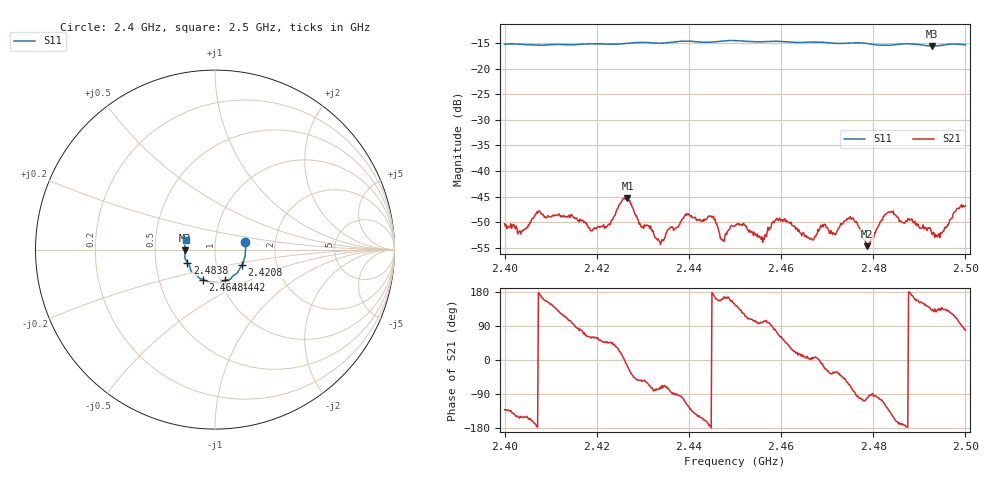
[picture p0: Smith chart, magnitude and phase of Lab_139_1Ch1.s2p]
# Hz S RI R 50
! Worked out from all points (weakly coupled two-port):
!   601 points, 2.4 GHz to 2.5 GHz, reference 50 ohm
!   highest |S21| = -45.24 dB at 2.4267 GHz (marker M1); lowest = -54.6 dB at 2.4787 GHz (marker M2)
!   lowest |S11| = -15.6 dB at 2.4928 GHz (marker M3), VSWR 1.40, Z = 35.8 - j0.353 ohm
!   |S11| at or under -10 dB: start of sweep to end of sweep
!   S12 and S22 are empty: the file has one direction only
!   S11 on the Smith chart (normalised r, x): 2.4 GHz: 1.40, +0.12; 2.4208 GHz: 1.33, -0.24; 2.4442 GHz: 1.05, -0.37; 2.4648 GHz: 0.83, -0.29; 2.4838 GHz: 0.73, -0.11; 2.5 GHz: 0.72, +0.08
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2.4e9  0.1676 0.0411  -0.00203 -0.0023  0 0  0 0
2.403333e9  0.171 0.0221  -0.00226 -0.00131  0 0  0 0
2.407333e9  0.1691 -0.0122  -0.00408 0.000181  0 0  0 0
2.416667e9  0.1591 -0.0681  0.000647 0.0032  0 0  0 0
2.420833e9  0.1507 -0.0871  0.00174 0.00231  0 0  0 0
2.426667e9  0.1316 -0.1176  0.00523 -0.00162  0 0  0 0
2.429667e9  0.1256 -0.129  0.00173 -0.00227  0 0  0 0
2.433333e9  0.1078 -0.1403  0.000482 -0.00213  0 0  0 0
2.4395e9  0.0837 -0.1653  -0.00166 -0.00331  0 0  0 0
2.444167e9  0.0567 -0.1714  -0.00355 -0.000734  0 0  0 0
2.447167e9  0.0366 -0.1817  -0.00202 0.000703  0 0  0 0
2.45e9  0.0245 -0.186  -0.00238 0.00167  0 0  0 0
2.455833e9  -0.0129 -0.1821  -0.000356 0.00226  0 0  0 0
2.460667e9  -0.0388 -0.1788  0.00215 0.00264  0 0  0 0
2.464833e9  -0.0684 -0.1669  0.00249 0.000377  0 0  0 0
2.466667e9  -0.0798 -0.1628  0.00217 0.000252  0 0  0 0
2.475167e9  -0.1234 -0.1278  0.00105 -0.00329  0 0  0 0
2.478667e9  -0.1354 -0.1117  -0.000359 -0.00182  0 0  0 0
2.483333e9  -0.1506 -0.0762  -0.00266 -0.00298  0 0  0 0
2.483833e9  -0.1533 -0.0721  -0.00315 -0.00253  0 0  0 0
2.492833e9  -0.1658 -0.0048  -0.00165 0.00175  0 0  0 0
2.5e9  -0.1622 0.0529  0.000853 0.00449  0 0  0 0
